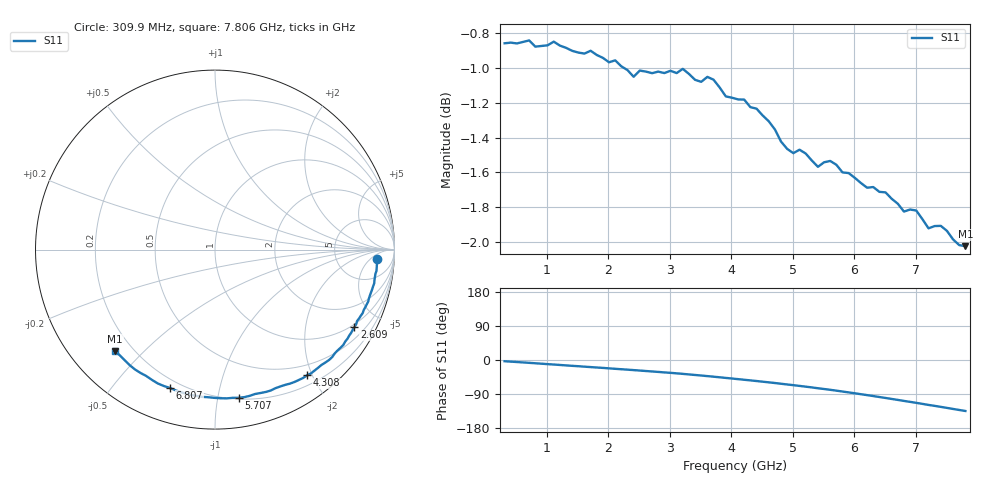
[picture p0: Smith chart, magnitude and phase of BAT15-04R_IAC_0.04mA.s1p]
! Infineon Technologies  Discrete & RF Semiconductors
! BAT15-04R
! IAC = 0.04 mA
! One-Port S-Parameters
# Hz  S  MA  R  50
!f  S11
!Hz  Mag  Ang
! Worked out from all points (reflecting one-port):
!   76 points, 309.9 MHz to 7.806 GHz, reference 50 ohm
!   lowest |S11| = -2.0 dB at 7.806 GHz (marker M1), VSWR 8.63, Z = 6.8 - j20.6 ohm
!   phase of S11 starts at -3 deg and turns -131 deg over the sweep
!   S11 on the Smith chart (normalised r, x): 309.9 MHz: 15, -9; 2.609 GHz: 0.89, -3.66; 4.308 GHz: 0.34, -1.93; 5.707 GHz: 0.21, -1.15; 6.807 GHz: 0.16, -0.71; 7.806 GHz: 0.14, -0.41
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3.0985e8  0.9058 -3.3
7.0965e8  0.9075 -7.5
8.096e8  0.9038 -8.6
1.10945e9  0.9068 -11.9
1.30935e9  0.9031 -14.2
1.70915e9  0.9013 -18.7
2.2089e9  0.8921 -24.4
2.4088e9  0.886 -26.7
2.6087e9  0.889 -29.1
3.2084e9  0.8906 -36.6
3.70815e9  0.8843 -44.0
4.10795e9  0.8728 -50.5
4.30785e9  0.8684 -53.8
4.6077e9  0.8603 -59.0
5.0075e9  0.8424 -66.4
5.2074e9  0.8422 -70.3
5.4073e9  0.8348 -74.6
5.6072e9  0.8381 -78.7
5.70715e9  0.8359 -80.9
6.007e9  0.8288 -87.8
6.30685e9  0.8238 -95.1
6.50675e9  0.8209 -100.1
6.8066e9  0.8105 -108.0
6.90655e9  0.8116 -110.5
7.0065e9  0.8111 -113.1
7.2064e9  0.8016 -118.6
7.4063e9  0.8029 -123.7
7.8061e9  0.7922 -134.6
